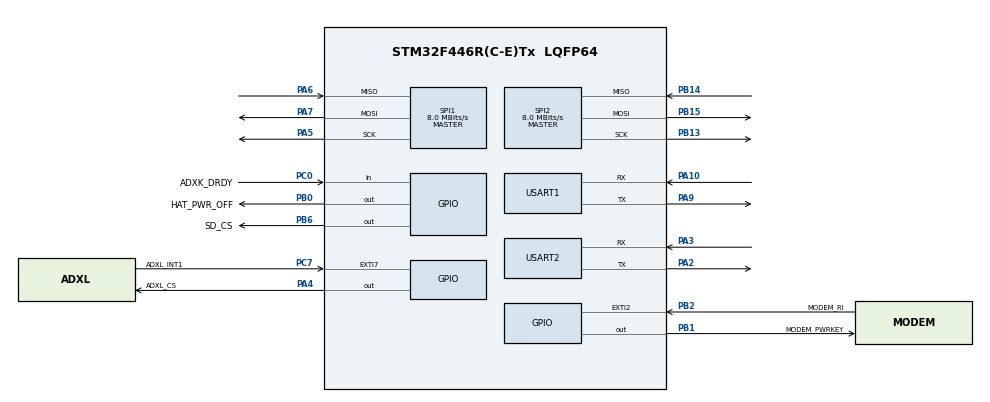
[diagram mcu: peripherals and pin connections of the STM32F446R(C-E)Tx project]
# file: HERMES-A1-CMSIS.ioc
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FREERTOS.Events01=sensor_event_flags,Dynamic,NULL
FREERTOS.Mutexes01=sd_mutex,Dynamic,NULL,Available
FREERTOS.Queues01=sensor_queue,50,28,1,Dynamic,NULL,NULL
FREERTOS.Tasks01=defaultTask,24,128,StartDefaultTask,Default,NULL,Dynamic,NULL,NULL;sensor_task,40,256,StartSensorTask,Default,NULL,Dynamic,NULL,NULL;modem_task,32,512,StartModemTask,Default,NULL,Dynamic,NULL,NULL;file_task,24,256,StartPriorityNormall,Default,NULL,Dynamic,NULL,NULL;control_task,16,512,StartControlTask,Default,NULL,Dynamic,NULL,NULL
FREERTOS.configTOTAL_HEAP_SIZE=10240
FREERTOS.configUSE_NEWLIB_REENTRANT=1
Mcu.Family=STM32F4
Mcu.Name=STM32F446R(C-E)Tx
Mcu.Package=LQFP64
NVIC.EXTI9_5_IRQn=true\:5\:0\:false\:false\:true\:true\:true\:true\:true
NVIC.PriorityGroup=NVIC_PRIORITYGROUP_4
NVIC.TIM1_UP_TIM10_IRQn=true\:15\:0\:true\:false\:true\:false\:false\:true\:true
NVIC.TimeBase=TIM1_UP_TIM10_IRQn
NVIC.TimeBaseIP=TIM1
PA10.Mode=Asynchronous
PA10.Signal=USART1_RX
PA13.Mode=Trace_Asynchronous_SW
PA13.Signal=SYS_JTMS-SWDIO
PA14.Mode=Trace_Asynchronous_SW
PA14.Signal=SYS_JTCK-SWCLK
PA2.Mode=Asynchronous
PA2.Signal=USART2_TX
PA3.Mode=Asynchronous
PA3.Signal=USART2_RX
PA4.GPIO_Label=ADXL_CS
PA4.GPIO_Speed=GPIO_SPEED_FREQ_HIGH
PA4.PinState=GPIO_PIN_SET
PA4.Signal=GPIO_Output
PA5.Mode=Full_Duplex_Master
PA5.Signal=SPI1_SCK
PA6.Mode=Full_Duplex_Master
PA6.Signal=SPI1_MISO
PA7.Mode=Full_Duplex_Master
PA7.Signal=SPI1_MOSI
PA9.Mode=Asynchronous
PA9.Signal=USART1_TX
PB0.GPIO_Label=HAT_PWR_OFF
PB0.GPIO_PuPd=GPIO_PULLDOWN
PB0.PinState=GPIO_PIN_RESET
PB0.Signal=GPIO_Output
PB1.GPIO_Label=MODEM_PWRKEY
PB1.GPIO_PuPd=GPIO_PULLDOWN
PB1.Signal=GPIO_Output
PB13.Mode=Full_Duplex_Master
PB13.Signal=SPI2_SCK
PB14.Mode=Full_Duplex_Master
PB14.Signal=SPI2_MISO
PB15.Mode=Full_Duplex_Master
PB15.Signal=SPI2_MOSI
PB2.GPIO_Label=MODEM_RI
PB2.GPIO_ModeDefaultEXTI=GPIO_MODE_IT_FALLING
PB2.GPIO_PuPd=GPIO_PULLUP
PB2.Signal=GPXTI2
PB3.Mode=Trace_Asynchronous_SW
PB3.Signal=SYS_JTDO-SWO
PB6.GPIO_Label=SD_CS
PB6.GPIO_Speed=GPIO_SPEED_FREQ_HIGH
PB6.PinState=GPIO_PIN_SET
PB6.Signal=GPIO_Output
PC0.GPIO_Label=ADXK_DRDY
PC0.Signal=GPIO_Input
PC7.GPIO_Label=ADXL_INT1
PC7.GPIO_PuPd=GPIO_PULLDOWN
PC7.Signal=GPXTI7
ProjectManager.HeapSize=0x200
ProjectManager.StackSize=0x400
ProjectManager.TargetToolchain=STM32CubeIDE
RCC.CortexFreq_Value=16000000
RCC.USBFreq_Value=96000000
RCC.VCOOutputFreq_Value=192000000
SPI1.CalculateBaudRate=8.0 MBits/s
SPI1.Direction=SPI_DIRECTION_2LINES
SPI1.Mode=SPI_MODE_MASTER
SPI1.VirtualType=VM_MASTER
SPI2.CalculateBaudRate=8.0 MBits/s
SPI2.Direction=SPI_DIRECTION_2LINES
SPI2.Mode=SPI_MODE_MASTER
SPI2.VirtualType=VM_MASTER
USART1.VirtualMode=VM_ASYNC
USART2.VirtualMode=VM_ASYNC
VP_FREERTOS_VS_CMSIS_V2.Mode=CMSIS_V2
VP_SYS_VS_tim1.Mode=TIM1
board=custom

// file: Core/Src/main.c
/* USER CODE BEGIN Header */
/**
  ******************************************************************************
  * @file           : main.c
  * @brief          : Main program body
  ******************************************************************************
  * @attention
  *
  * Copyright (c) 2026 STMicroelectronics.
  * All rights reserved.
  *
  * This software is licensed under terms that can be found in the LICENSE file
  * in the root directory of this software component.
  * If no LICENSE file comes with this software, it is provided AS-IS.
  *
  ******************************************************************************
  */
/* USER CODE END Header */
#include "main.h"
#include "console.h"
#include "cmsis_os.h"
#include "spi.h"
#include "usart.h"
#include "gpio.h"

/* USER CODE BEGIN Includes */
#include "Sd_spi.h"
#include "adxl355.h"
#include "ff.h"
#include "quectel_drive.h"
#include "wdt.h"
#include "tasks.h"
#include <stdio.h>
#include <string.h>
#include <stdlib.h>
#include <math.h>
#ifdef ENABLE_TESTS
#include "test_suite.h"
#endif
/* USER CODE END Includes */

/* USER CODE BEGIN PV */
FRESULT fres;
// Shadow variables for display
const char* range_str[] = {"+/- 2g", "+/- 4g", "+/- 8g"};
const char* odr_str[] = {"?", "4000Hz", "2000Hz", "1000Hz", "500Hz", "250Hz", "125Hz", "62.5Hz", "31.25Hz"};
int cur_range_idx = 0;
    int cur_odr_idx = 6;
    float trigger_g = 0.10f;
    uint8_t hpf_enabled = 1;
    uint8_t act_count = 5;
    uint8_t operation_mode = 2;
volatile uint8_t g_modem_abort_enabled = 0;
osMutexId_t uart_mutexHandle = NULL;

// Placeholder variables for future power measurement peripheral
float voltage_val = 0.0f;
float current_val = 0.0f;
float power_val = 0.0f;
/* USER CODE END PV */

void SystemClock_Config(void);
void MX_FREERTOS_Init(void);
/* USER CODE BEGIN PFP */

void Apply_Remote_Config(const char* key, const char* val);

/* USER CODE END PFP */

/* USER CODE BEGIN 0 */

void Apply_Remote_Config(const char* key, const char* val) {
    if (strcmp(key, "RANGE") == 0) {
        int g = atoi(val);
        if (g <= 2) {
            ADXL355_Set_Range(ADXL355_RANGE_2G);
            cur_range_idx = 0;
        } else if (g <= 4) {
            ADXL355_Set_Range(ADXL355_RANGE_4G);
            cur_range_idx = 1;
        } else {
            ADXL355_Set_Range(ADXL355_RANGE_8G);
            cur_range_idx = 2;
        }
        CONS_INFO("[CONFIG] RANGE set to %s", range_str[cur_range_idx]);
    } else if (strcmp(key, "ODR_HZ") == 0) {
        int odr = atoi(val);
        switch (odr) {
            case 4000: ADXL355_Set_ODR(ADXL355_ODR_4000HZ); cur_odr_idx = 1; break;
            case 2000: ADXL355_Set_ODR(ADXL355_ODR_2000HZ); cur_odr_idx = 2; break;
            case 1000: ADXL355_Set_ODR(ADXL355_ODR_1000HZ); cur_odr_idx = 3; break;
            case 500:  ADXL355_Set_ODR(ADXL355_ODR_500HZ);  cur_odr_idx = 4; break;
            case 250:  ADXL355_Set_ODR(ADXL355_ODR_250HZ);  cur_odr_idx = 5; break;
            case 125:  ADXL355_Set_ODR(ADXL355_ODR_125HZ);  cur_odr_idx = 6; break;
            case 62:   ADXL355_Set_ODR(ADXL355_ODR_62_5HZ); cur_odr_idx = 7; break;
            case 31:   ADXL355_Set_ODR(ADXL355_ODR_31_25HZ); cur_odr_idx = 8; break;
            default: break;
        }
        if (cur_odr_idx > 0) CONS_INFO("[CONFIG] ODR set to %s", odr_str[cur_odr_idx]);
    } else if (strcmp(key, "TRIGGER_G") == 0) {
        float t = atof(val);
        if (t > 0.0f) {
            trigger_g = t;
            CONS_INFO("[CONFIG] Trigger set to %.2f G", trigger_g);
        }
    } else if (strcmp(key, "HPF") == 0) {
        uint8_t enable = 0;
        if (strcasecmp(val, "ON") == 0 || strcmp(val, "1") == 0) enable = 1;
        else if (strcasecmp(val, "OFF") == 0 || strcmp(val, "0") == 0) enable = 0;
        hpf_enabled = enable;
        ADXL355_Set_HPF(hpf_enabled);
        CONS_INFO("[CONFIG] HPF %s", hpf_enabled ? "ON" : "OFF");
    } else if (strcmp(key, "ACT_COUNT") == 0) {
        int c = atoi(val);
        if (c < 1) c = 1;
        if (c > 255) c = 255;
        act_count = (uint8_t)c;
        CONS_INFO("[CONFIG] ACT_COUNT set to %d", c);
    } else if (strcmp(key, "OPERATION_MODE") == 0 || strcmp(key, "MODE") == 0) {
        int m = atoi(val);
        if (m == 1 || m == 2) {
            operation_mode = (uint8_t)m;
            CONS_INFO("[CONFIG] OPERATION_MODE=%d", m);
        } else {
            operation_mode = 2;
            CONS_WARN("[CONFIG] OPERATION_MODE invalid, forcing=2");
        }
    }
}

/* USER CODE END 0 */

int main(void)
{

  /* MCU Configuration--------------------------------------------------------*/

  /* Reset of all peripherals, Initializes the Flash interface and the Systick. */
  HAL_Init();

  #include "wdt.h"

  /* USER CODE BEGIN Init */

  /* Check and log reset reason */
  ResetReason reset_reason = WDT_GetResetReason();
  if (reset_reason != RESET_REASON_NONE) {
      CONS_INFO("[RESET] Reset reason: 0x%08X", reset_reason);
      if (reset_reason & RESET_REASON_POWER) CONS_INFO("[RESET] Power-on reset");
      if (reset_reason & RESET_REASON_PIN) CONS_INFO("[RESET] Pin reset (NRST)");
      if (reset_reason & RESET_REASON_BOR) CONS_INFO("[RESET] Brown-out reset");
      if (reset_reason & RESET_REASON_SFTR) CONS_INFO("[RESET] Software reset");
      if (reset_reason & RESET_REASON_IWDG) CONS_INFO("[RESET] Independent watchdog reset");
      if (reset_reason & RESET_REASON_WWDG) CONS_INFO("[RESET] Window watchdog reset");
      if (reset_reason & RESET_REASON_LOWPOWER) CONS_INFO("[RESET] Low-power reset");
      WDT_ClearResetFlags();
  }

  /* USER CODE END Init */

  /* Configure the system clock */
  SystemClock_Config();

  /* Initialize all configured peripherals */
  MX_GPIO_Init();
  MX_SPI1_Init();
  MX_USART2_UART_Init();
  USART2_Start_IT();
  MX_SPI2_Init();
  MX_USART1_UART_Init();
  /* USER CODE BEGIN 2 */
  WDT_Init();
  CONS("[WDT] IWDG started (~33s timeout)");
  Modem_Init(&huart1);  // Initialize modem UART handle (needed for modem_task)
  CONS("\r\n--- AWTAS INITIALIZING (AUTONOMOUS WIRELESS TRIAXIAL ADQUISITION SYSTEM) ---");

  if (ADXL355_Init(&hspi2)) {
      CONS_OK("[SENSOR] ADXL355 Initialized Successfully");
      ADXL355_LevelToZero();
      ADXL355_Config_WakeOnMotion(trigger_g, act_count);
      CONS_INFO("[SENSOR] Wake-on-Motion configured: %.3f G, count=%d", trigger_g, act_count);
  } else {
      CONS_ERR("[SENSOR] ADXL355 Initialization Failed");
  }

  if (sd_mount() == 0) {
      fres = FR_OK;
  } else {
      fres = FR_NOT_READY;
  }

#ifdef ENABLE_TESTS
  CONS("\r\n*** TEST MODE: Running test suite (ENABLE_TESTS defined) ***");
  run_test_suite();
  CONS("\r\n*** TEST MODE: Halting. Power-cycle to exit. ***");
  while (1);
#endif

  /* RTOS takes over from here -- tasks handle acquisition, upload, and CLI */
  /* USER CODE END 2 */

  /* Init scheduler */
  osKernelInitialize();

  /* Create UART mutex */
  static const osMutexAttr_t uart_mutex_attr = { .name = "uart_mutex" };
  uart_mutexHandle = osMutexNew(&uart_mutex_attr);

  MX_FREERTOS_Init();

  /* Start scheduler */
  osKernelStart();

  /* We should never get here as control is now taken by the scheduler */

  /* Infinite loop */
  while (1)
  {
  }

}

void SystemClock_Config(void)
{
  RCC_OscInitTypeDef RCC_OscInitStruct = {0};
  RCC_ClkInitTypeDef RCC_ClkInitStruct = {0};

  /** Configure the main internal regulator output voltage
  */
  __HAL_RCC_PWR_CLK_ENABLE();
  __HAL_PWR_VOLTAGESCALING_CONFIG(PWR_REGULATOR_VOLTAGE_SCALE3);

  /** Initializes the RCC Oscillators according to the specified parameters
  * in the RCC_OscInitTypeDef structure.
  */
  RCC_OscInitStruct.OscillatorType = RCC_OSCILLATORTYPE_HSI;
  RCC_OscInitStruct.HSIState = RCC_HSI_ON;
  RCC_OscInitStruct.HSICalibrationValue = RCC_HSICALIBRATION_DEFAULT;
  RCC_OscInitStruct.PLL.PLLState = RCC_PLL_NONE;
  if (HAL_RCC_OscConfig(&RCC_OscInitStruct) != HAL_OK)
  {
    Error_Handler();
  }

  /** Initializes the CPU, AHB and APB buses clocks
  */
  RCC_ClkInitStruct.ClockType = RCC_CLOCKTYPE_HCLK|RCC_CLOCKTYPE_SYSCLK
                              |RCC_CLOCKTYPE_PCLK1|RCC_CLOCKTYPE_PCLK2;
  RCC_ClkInitStruct.SYSCLKSource = RCC_SYSCLKSOURCE_HSI;
  RCC_ClkInitStruct.AHBCLKDivider = RCC_SYSCLK_DIV1;
  RCC_ClkInitStruct.APB1CLKDivider = RCC_HCLK_DIV1;
  RCC_ClkInitStruct.APB2CLKDivider = RCC_HCLK_DIV1;

  if (HAL_RCC_ClockConfig(&RCC_ClkInitStruct, FLASH_LATENCY_0) != HAL_OK)
  {
    Error_Handler();
  }
}

/* USER CODE BEGIN 4 */
// Redirect printf to UART (mutex-protected for multi-task safety)
int _write(int file, char *ptr, int len)
{
  if (uart_mutexHandle != NULL) {
    osMutexAcquire(uart_mutexHandle, osWaitForever);
  }
  HAL_StatusTypeDef status = HAL_UART_Transmit(&huart2, (uint8_t*)ptr, len, 100);
  if (uart_mutexHandle != NULL) {
    osMutexRelease(uart_mutexHandle);
  }
  if (status != HAL_OK) {
  }
  return len;
}

void HAL_GPIO_EXTI_Callback(uint16_t GPIO_Pin)
{
  if (GPIO_Pin == ADXL_INT1_Pin) {
    osEventFlagsSet(sensor_event_flagsHandle, EVT_MOTION_DETECTED);
  }
}
/* USER CODE END 4 */

void HAL_TIM_PeriodElapsedCallback(TIM_HandleTypeDef *htim)
{
  if (htim->Instance == TIM1)
  {
    HAL_IncTick();
  }
}

void Error_Handler(void)
{
  __disable_irq();
  while (1)
  {
  }
}

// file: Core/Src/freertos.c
/* USER CODE BEGIN Header */
/**
  ******************************************************************************
  * File Name          : freertos.c
  * Description        : Code for freertos applications
  ******************************************************************************
  * @attention
  *
  * Copyright (c) 2026 STMicroelectronics.
  * All rights reserved.
  *
  * This software is licensed under terms that can be found in the LICENSE file
  * in the root directory of this software component.
  * If no LICENSE file comes with this software, it is provided AS-IS.
  *
  ******************************************************************************
  */
/* USER CODE END Header */

#include "FreeRTOS.h"
#include "tasks.h"
#include "main.h"
#include "cmsis_os.h"
#include <stdio.h>

/* USER CODE BEGIN Includes */
#include "tasks.h"
/* USER CODE END Includes */

/* Definitions for defaultTask */
osThreadId_t defaultTaskHandle;
const osThreadAttr_t defaultTask_attributes = {
  .name = "defaultTask",
  .stack_size = 128 * 4,
  .priority = (osPriority_t) osPriorityNormal,
};
/* Definitions for sensor_task */
osThreadId_t sensor_taskHandle;
const osThreadAttr_t sensor_task_attributes = {
  .name = "sensor_task",
  .stack_size = 1024 * 4,  /* Increased from 512: FatFs error recovery + verify needs margin */
  .priority = (osPriority_t) osPriorityHigh,
};
/* Definitions for modem_task */
osThreadId_t modem_taskHandle;
const osThreadAttr_t modem_task_attributes = {
  .name = "modem_task",
  .stack_size = 2048 * 4,  /* Doubled: Modem_UploadFile+BringUpNetwork+SendAT+printf internal buffers need ~6KB */
  .priority = (osPriority_t) osPriorityAboveNormal,
};
/* Definitions for file_task */
osThreadId_t file_taskHandle;
const osThreadAttr_t file_task_attributes = {
  .name = "file_task",
  .stack_size = 1536 * 4,  /* increased from 1024: FatFs + scan FIL on stack needs margin */
  .priority = (osPriority_t) osPriorityNormal,
};
/* Definitions for control_task */
osThreadId_t control_taskHandle;
const osThreadAttr_t control_task_attributes = {
  .name = "control_task",
  .stack_size = 1024 * 4,
  .priority = (osPriority_t) osPriorityNormal,
};
/* Definitions for sd_mutex */
osMutexId_t sd_mutexHandle;
const osMutexAttr_t sd_mutex_attributes = {
  .name = "sd_mutex"
};
/* Definitions for sensor_event_flags */
osEventFlagsId_t sensor_event_flagsHandle;
const osEventFlagsAttr_t sensor_event_flags_attributes = {
  .name = "sensor_event_flags"
};

void StartDefaultTask(void *argument);
void StartSensorTask(void *argument);
void StartModemTask(void *argument);
void StartFileTask(void *argument);
void StartControlTask(void *argument);

void MX_FREERTOS_Init(void); /* (MISRA C 2004 rule 8.1) */

void MX_FREERTOS_Init(void) {
  /* Create the mutex(es) */
  /* creation of sd_mutex */
  sd_mutexHandle = osMutexNew(&sd_mutex_attributes);

  /* Create the queue(s) */

  /* Create the thread(s) */
  /* creation of defaultTask */
  defaultTaskHandle = osThreadNew(StartDefaultTask, NULL, &defaultTask_attributes);

  /* creation of sensor_task */
  sensor_taskHandle = osThreadNew(StartSensorTask, NULL, &sensor_task_attributes);

  /* creation of modem_task */
  modem_taskHandle = osThreadNew(StartModemTask, NULL, &modem_task_attributes);

  /* creation of file_task */
  file_taskHandle = osThreadNew(StartFileTask, NULL, &file_task_attributes);

  /* creation of control_task */
  control_taskHandle = osThreadNew(StartControlTask, NULL, &control_task_attributes);

  /* creation of sensor_event_flags */
  sensor_event_flagsHandle = osEventFlagsNew(&sensor_event_flags_attributes);

}

void StartDefaultTask(void *argument)
{
  for(;;)
  {
    osDelay(1);
  }
}

/* USER CODE BEGIN Application */

/* Stack overflow hook called by FreeRTOS when configCHECK_FOR_STACK_OVERFLOW=2 */
void vApplicationStackOverflowHook(TaskHandle_t xTask, char *pcTaskName)
{
    /* Disable interrupts and print diagnostic */
    portDISABLE_INTERRUPTS();
    printf("\r\n[FATAL] STACK OVERFLOW in task: %s\r\n", pcTaskName);
    for (;;) {
        /* Wait for debugger or WDT reset */
    }
}

/* Malloc failure hook */
void vApplicationMallocFailedHook(void)
{
    portDISABLE_INTERRUPTS();
    printf("\r\n[FATAL] MALLOC FAILED (heap exhausted)\r\n");
    for (;;) {
        /* Wait for debugger or WDT reset */
    }
}

/* USER CODE END Application */
